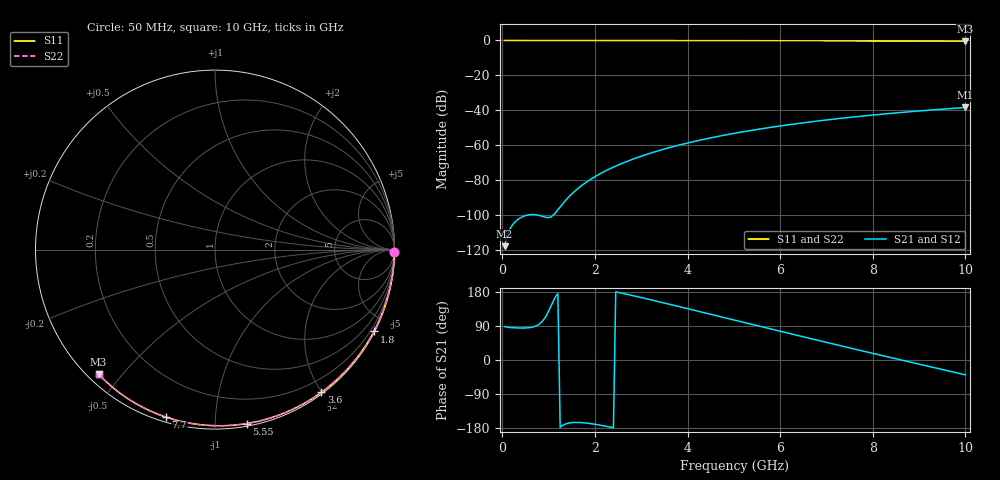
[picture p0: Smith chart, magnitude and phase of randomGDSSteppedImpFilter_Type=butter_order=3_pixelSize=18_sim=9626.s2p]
! freq	dB(S11)	phase(S11)	dB(S12)	phase(S12)
!  dB(S21)	phase(S21)	dB(S22)	phase(S22)
!S-par simulation data
#  GHz  S  DB  R 50
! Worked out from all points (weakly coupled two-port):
!   200 points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, 50 MHz to 10 GHz, reference 50 ohm
!   highest |S21| = -38.30 dB at 10 GHz (marker M1); lowest = -117.5 dB at 50 MHz (marker M2)
!   lowest |S11| = -0.4 dB at 10 GHz (marker M3), VSWR 38.69, Z = 1.54 - j21.7 ohm
!   |S11| at or under -10 dB: nowhere
!   |S22| runs from -0.4 to 0.0 dB; largest |S21 - S12| = 0
!   S11 on the Smith chart (normalised r, x): 50 MHz: open; 1.8 GHz: 0.04, -4.12; 3.6 GHz: 0.02, -1.99; 5.55 GHz: 0.02, -1.20; 7.7 GHz: 0.02, -0.75; 10 GHz: 0.03, -0.43
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0.05  -0.00 -0.8  -117.53 88.1  -117.53 88.1  -0.00 -0.8
0.9  -0.02 -13.8  -100.83 107.8  -100.83 107.8  -0.02 -13.8
1.75  -0.03 -26.5  -82.18 -165.6  -82.18 -165.6  -0.03 -26.5
1.8  -0.03 -27.3  -81.23 -166.2  -81.23 -166.2  -0.03 -27.3
1.85  -0.04 -28.0  -80.33 -166.9  -80.33 -166.9  -0.04 -28.0
1.9  -0.04 -28.7  -79.47 -167.7  -79.47 -167.7  -0.04 -28.7
2.05  -0.04 -31.0  -77.07 -170.6  -77.07 -170.6  -0.04 -31.0
2.25  -0.04 -33.9  -74.25 -175.1  -74.25 -175.1  -0.04 -33.9
2.45  -0.05 -36.8  -71.76 179.9  -71.76 179.9  -0.05 -36.8
2.65  -0.05 -39.7  -69.53 174.6  -69.53 174.6  -0.05 -39.7
3  -0.06 -44.8  -66.12 164.8  -66.12 164.8  -0.06 -44.8
3.4  -0.07 -50.5  -62.77 153.3  -62.77 153.3  -0.07 -50.5
3.6  -0.07 -53.3  -61.28 147.4  -61.28 147.4  -0.07 -53.3
4.3  -0.09 -63.0  -56.77 126.6  -56.77 126.6  -0.09 -63.0
5.05  -0.11 -73.0  -52.86 104.2  -52.86 104.2  -0.11 -73.1
5.55  -0.13 -79.6  -50.63 89.3  -50.63 89.3  -0.13 -79.6
6.1  -0.15 -86.6  -48.46 73.0  -48.46 73.0  -0.15 -86.6
6.7  -0.18 -94.1  -46.37 55.3  -46.37 55.3  -0.18 -94.1
7.7  -0.24 -106.3  -43.40 26.2  -43.40 26.2  -0.24 -106.3
8.35  -0.29 -114.0  -41.75 7.5  -41.75 7.5  -0.29 -114.0
9.15  -0.36 -123.3  -39.95 -15.2  -39.95 -15.2  -0.36 -123.3
10  -0.45 -133.1  -38.30 -39.1  -38.30 -39.1  -0.45 -133.1
